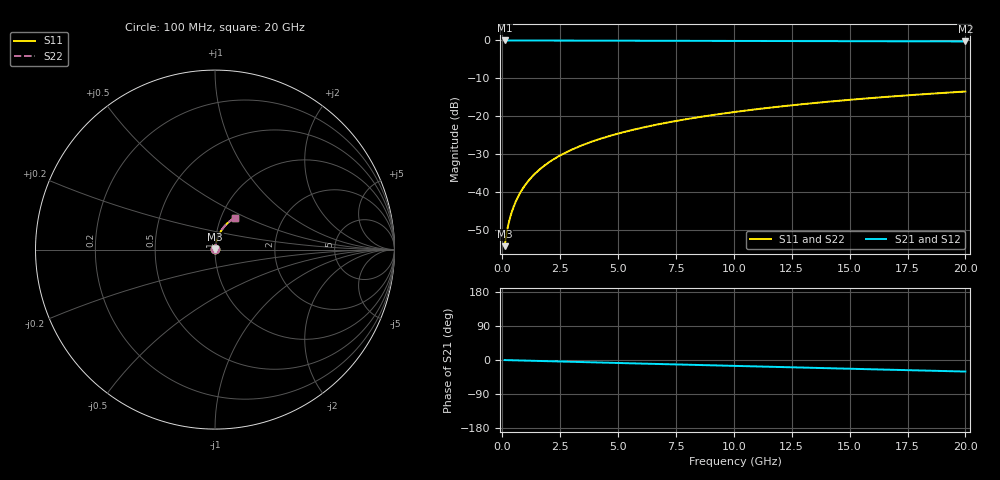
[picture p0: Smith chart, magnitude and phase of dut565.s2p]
! Touchstone file exported from HFSS 2026.1.0
!  File:  C:/ffzhzh/LocalFiles/Ansys_Project_Files/temp_train_BSMRDL_565_1783015398_53980.aedt
!  Generated:  02:04:46 AM Jul  3, 2026
!  Design:  BSMRDL
!  Project:  temp_train_BSMRDL_565_1783015398_53980
! Variables:
!  h_bsmrdl = 5.37um
!  h_ox = 20um
!  h_rdl = 5um
!  h_sub = 80um
!  h_tmrdl = 5um
!  h_tsv = 80um
!  h_via = 3um
!  l_bsmrdl = 472.83um
!  l_sub = 872.83um
!  l_tmrdl = 200um
!  m_sub = 200um
!  pitch = 47.58um
!  r_tsv = 6um
!  s_tmrdl = 10um
!  w_bsmrdl = 28.34um
!  w_sub = 500um
!  w_tmrdl = 12um
!  x_tsv_center1 = 206um
!  x_tsv_center2 = 707.17um
!  x_tsv_center3 = 919.17um
!  x_tsv_center4 = 1420.34um
!  x_tsv_center5 = 1632.34um
!  x_tsv_center6 = 2133.51um
# GHz S MA R 50.000000
! Terminal data exported
! Port[1] = BSM_RDL1_1_T1
! Port[2] = BSM_RDL1_1_T2
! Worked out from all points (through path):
!   200 points, 100 MHz to 20 GHz, reference 50 ohm
!   highest |S21| = -0.01 dB at 100 MHz (marker M1); lowest = -0.3 dB at 20 GHz (marker M2)
!   group delay of S21, straight-line fit = 4.23 ps
!   lowest |S11| = -54.3 dB at 100 MHz (marker M3), VSWR 1.00, Z = 50.1 + j0.14 ohm
!   |S11| at or under -10 dB: start of sweep to end of sweep
!   |S22| runs from -54.3 to -13.5 dB; largest |S21 - S12| = 3.5e-15
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0.1  0.001925 46.7  0.9987 -0.2  0.9987 -0.2  0.001924 46.7
! Gamma 0 0 0 0
! Port Impedance 50 0 50 0
0.2  0.003037 61.1  0.9985 -0.3  0.9985 -0.3  0.003037 61.1
0.3  0.004169 67.9  0.9985 -0.5  0.9985 -0.5  0.004169 67.9
0.4  0.00532 71.9  0.9984 -0.7  0.9984 -0.7  0.00532 71.9
0.5  0.00649 74.6  0.9983 -0.8  0.9983 -0.8  0.00649 74.6
0.6  0.007673 76.5  0.9983 -1.0  0.9983 -1.0  0.007673 76.5
0.8  0.01006 78.8  0.9982 -1.3  0.9982 -1.3  0.01006 78.8
1.1  0.01367 80.4  0.9981 -1.8  0.9981 -1.8  0.01367 80.4
1.3  0.01607 81.0  0.9979 -2.1  0.9979 -2.1  0.01607 81.0
1.5  0.01847 81.3  0.9978 -2.4  0.9978 -2.4  0.01847 81.3
1.8  0.02206 81.4  0.9976 -2.9  0.9976 -2.9  0.02206 81.4
2.1  0.02562 81.3  0.9973 -3.4  0.9973 -3.4  0.02562 81.3
2.7  0.03266 80.9  0.9967 -4.3  0.9967 -4.3  0.03267 80.9
3.5  0.04191 80.1  0.9959 -5.6  0.9959 -5.6  0.04191 80.1
4.2  0.04988 79.2  0.9952 -6.6  0.9952 -6.6  0.04988 79.2
5  0.05888 78.2  0.9943 -7.9  0.9943 -7.9  0.05888 78.2
6.8  0.0788 75.9  0.9921 -10.7  0.9921 -10.7  0.0788 75.9
8.3  0.0951 73.8  0.9901 -13.0  0.9901 -13.0  0.09511 73.8
10.1  0.1143 71.4  0.9876 -15.7  0.9876 -15.7  0.1143 71.4
13.4  0.1484 66.7  0.9822 -20.7  0.9822 -20.7  0.1484 66.7
16.7  0.1809 62.1  0.9761 -25.6  0.9761 -25.6  0.1809 62.1
20  0.2116 57.4  0.9694 -30.5  0.9694 -30.5  0.2116 57.4
